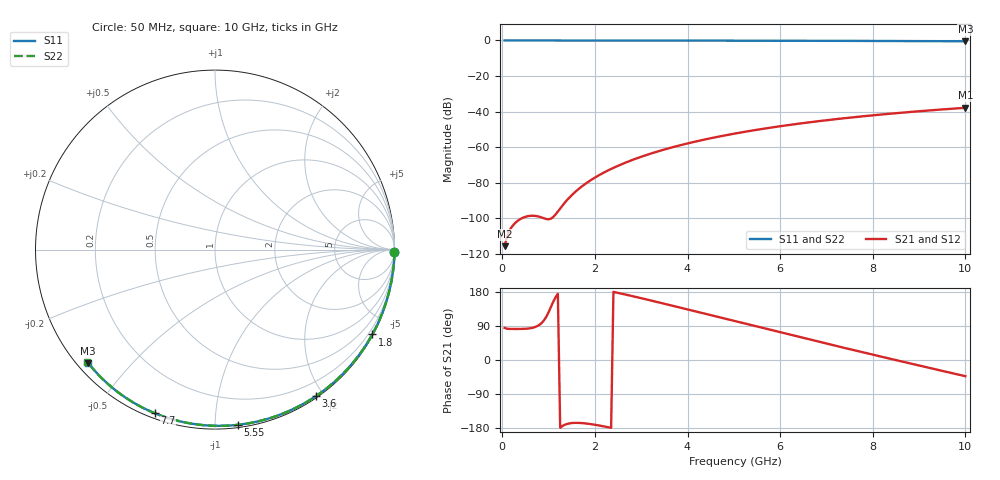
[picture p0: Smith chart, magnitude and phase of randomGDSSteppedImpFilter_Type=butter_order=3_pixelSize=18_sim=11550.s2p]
! freq	dB(S11)	phase(S11)	dB(S12)	phase(S12)
!  dB(S21)	phase(S21)	dB(S22)	phase(S22)
!S-par simulation data
#  GHz  S  DB  R 50
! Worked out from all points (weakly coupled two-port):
!   200 points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, 50 MHz to 10 GHz, reference 50 ohm
!   highest |S21| = -37.89 dB at 10 GHz (marker M1); lowest = -115.7 dB at 50 MHz (marker M2)
!   lowest |S11| = -0.5 dB at 10 GHz (marker M3), VSWR 37.10, Z = 1.54 - j19.1 ohm
!   |S11| at or under -10 dB: nowhere
!   |S22| runs from -0.5 to 0.0 dB; largest |S21 - S12| = 0
!   S11 on the Smith chart (normalised r, x): 50 MHz: open; 1.8 GHz: 0.03, -3.96; 3.6 GHz: 0.02, -1.91; 5.55 GHz: 0.02, -1.14; 7.7 GHz: 0.02, -0.70; 10 GHz: 0.03, -0.38
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0.05  -0.00 -0.8  -115.75 84.9  -115.75 84.9  -0.00 -0.8
0.45  -0.01 -7.2  -99.70 82.1  -99.70 82.1  -0.01 -7.2
0.9  -0.02 -14.3  -100.07 104.6  -100.07 104.6  -0.02 -14.4
1.75  -0.04 -27.6  -81.49 -166.8  -81.49 -166.8  -0.04 -27.7
1.8  -0.04 -28.3  -80.55 -167.4  -80.55 -167.4  -0.04 -28.5
1.85  -0.04 -29.1  -79.65 -168.2  -79.65 -168.2  -0.04 -29.2
2.05  -0.04 -32.2  -76.38 -171.9  -76.38 -171.9  -0.04 -32.3
2.25  -0.05 -35.2  -73.56 -176.5  -73.56 -176.5  -0.05 -35.4
2.55  -0.05 -39.8  -69.93 175.7  -69.93 175.7  -0.05 -40.0
2.95  -0.06 -45.8  -65.89 164.6  -65.89 164.6  -0.06 -46.0
3.4  -0.07 -52.4  -62.11 151.4  -62.11 151.4  -0.07 -52.6
3.6  -0.07 -55.3  -60.62 145.5  -60.62 145.5  -0.07 -55.6
3.9  -0.08 -59.7  -58.57 136.5  -58.57 136.5  -0.08 -59.9
4.3  -0.09 -65.4  -56.13 124.4  -56.13 124.4  -0.09 -65.6
5.05  -0.12 -75.8  -52.25 101.7  -52.25 101.7  -0.12 -76.1
5.55  -0.14 -82.6  -50.04 86.6  -50.04 86.6  -0.14 -82.9
6.1  -0.16 -89.9  -47.89 70.1  -47.89 70.1  -0.16 -90.2
6.7  -0.19 -97.6  -45.83 52.2  -45.83 52.2  -0.19 -98.0
7.7  -0.25 -110.2  -42.90 22.8  -42.90 22.8  -0.25 -110.7
8.35  -0.30 -118.2  -41.27 4.0  -41.27 4.0  -0.30 -118.7
9.2  -0.38 -128.6  -39.41 -20.2  -39.41 -20.2  -0.38 -129.0
10  -0.47 -138.2  -37.89 -42.8  -37.89 -42.8  -0.47 -138.7
